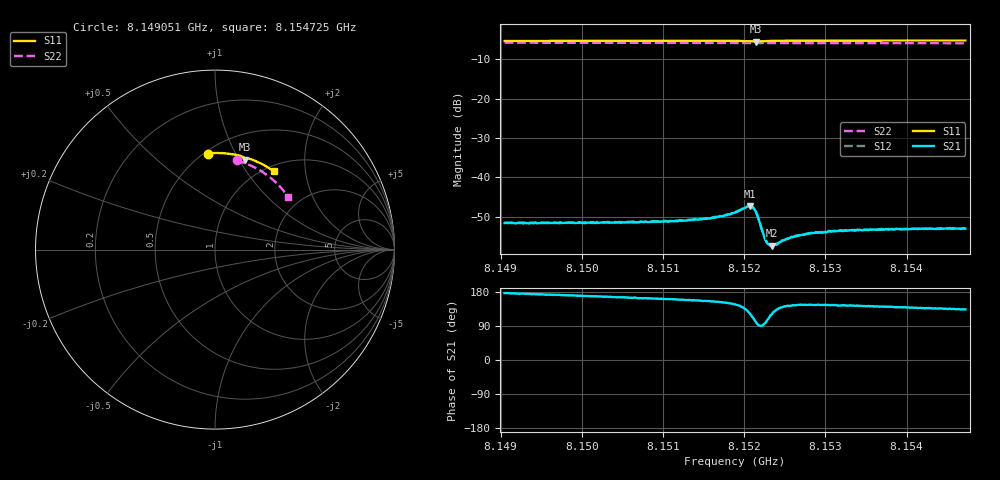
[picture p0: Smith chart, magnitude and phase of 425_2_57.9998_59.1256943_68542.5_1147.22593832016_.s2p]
#  HZ  S  RI  R  50.00
! Rohde & Schwarz Vector Network Analyzer
! Rohde-Schwarz,ZNB20-2Port,1311601062101988,3.16
! Created: UTC 3/21/2024, 1:09:18 AM
! freq[Hz]  re:S11  im:S11  re:S21  im:S21  re:S12  im:S12  re:S22  im:S22
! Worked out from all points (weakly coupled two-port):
!   401 points, 8.149051 GHz to 8.154725 GHz, reference 50 ohm
!   highest |S21| = -47.30 dB at 8.152072 GHz (marker M1); lowest = -57.4 dB at 8.152342 GHz (marker M2)
!   lowest |S11| = -5.6 dB at 8.152143 GHz (marker M3), VSWR 3.24, Z = 38.1 + j52.9 ohm
!   |S11| at or under -10 dB: nowhere
!   |S22| runs from -6.0 to -5.8 dB; largest |S21 - S12| = 0.00014
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8.1490505e9  -0.0408 0.5353  -0.00262 0.000164  -0.00265 0.000187  0.1199 0.4965
8.150001e9  0.0254 0.5379  -0.0026 0.000492  -0.00261 0.000541  0.1783 0.4775
8.1509515e9  0.0915 0.5322  -0.0026 0.000876  -0.0026 0.000923  0.2334 0.4514
8.1515047e9  0.13 0.5248  -0.00272 0.00121  -0.0027 0.00125  0.264 0.4333
8.1517601e9  0.1485 0.5196  -0.00287 0.00155  -0.00289 0.0016  0.2775 0.4244
8.1518878e9  0.1582 0.5158  -0.00299 0.00195  -0.00301 0.00202  0.284 0.4196
8.1520296e9  0.1679 0.5077  -0.00279 0.00312  -0.00278 0.00321  0.2913 0.4141
8.1520722e9  0.1687 0.504  -0.00228 0.00366  -0.00226 0.00371  0.2933 0.4126
8.1521148e9  0.1672 0.5012  -0.00134 0.00383  -0.0013 0.00393  0.2953 0.4107
8.1521431e9  0.1657 0.5011  -0.000674 0.00362  -0.000601 0.00364  0.2967 0.4098
8.1521715e9  0.1648 0.5026  -0.000168 0.00308  -0.000122 0.00312  0.2981 0.4089
8.1522566e9  0.1691 0.5077  -0.000197 0.00165  -0.000198 0.00166  0.3023 0.4056
8.1522992e9  0.1729 0.5087  -0.000468 0.00134  -0.000474 0.00136  0.3045 0.4044
8.1523417e9  0.1767 0.5089  -0.000691 0.00117  -0.000692 0.00116  0.3066 0.4026
8.1523843e9  0.1804 0.5087  -0.000892 0.00107  -0.000893 0.00109  0.3087 0.4008
8.1524552e9  0.1861 0.5076  -0.00115 0.00101  -0.00115 0.00103  0.3123 0.398
8.1525829e9  0.1957 0.5051  -0.00141 0.00105  -0.00141 0.001  0.3186 0.3928
8.1528382e9  0.2134 0.4988  -0.00162 0.00111  -0.00163 0.00115  0.3305 0.382
8.1530227e9  0.2255 0.4938  -0.00166 0.00115  -0.00169 0.00118  0.3391 0.3742
8.1533206e9  0.2446 0.4853  -0.00173 0.00127  -0.00171 0.00127  0.3525 0.3608
8.1537887e9  0.2736 0.4706  -0.00169 0.00141  -0.00168 0.00141  0.3725 0.3391
8.154725e9  0.3281 0.4359  -0.00154 0.00162  -0.00152 0.00166  0.4081 0.2926
